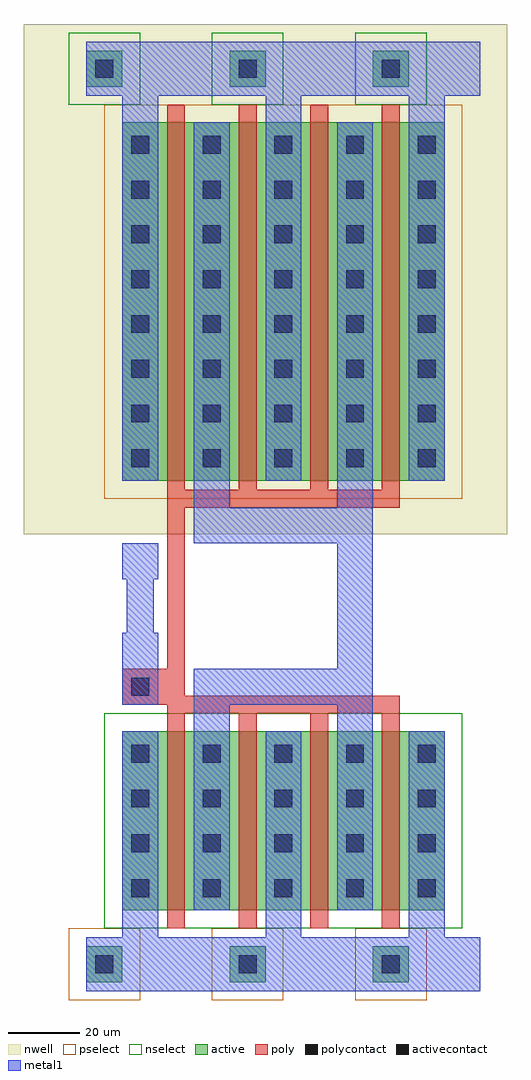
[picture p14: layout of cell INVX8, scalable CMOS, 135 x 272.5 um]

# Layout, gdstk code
import gdstk
lib = gdstk.Library(unit=1e-6, precision=1e-09)
def R(c, l, rs):  # rectangles x0, y0, x1, y1
    for r in rs: c.add(gdstk.rectangle(r[:2], r[2:], *l))
def A(c, l, x, y, w, h, nx, ny, dx, dy):  # array of equal rectangles
    R(c, l, [(x+i*dx, y+j*dy, x+i*dx+w, y+j*dy+h) for i in range(nx) for j in range(ny)])
nwell = (42, 0)
active = (43, 0)
pselect = (44, 0)
nselect = (45, 0)
poly = (46, 0)
polycontact = (47, 0)
activecontact = (48, 0)
metal1 = (49, 0)

invx8 = lib.new_cell('INVX8')
R(invx8, nwell, [(-22.5,120,112.5,262.5)])
A(invx8, active, -5, -5, 10, 10, 3, 2, 40, 250)
R(invx8, active, [(5,15,95,65), (5,135,95,235)])
A(invx8, pselect, -10, -10, 20, 20, 3, 1, 40, 0)
R(invx8, pselect, [(0,130,100,240)])
A(invx8, nselect, -10, 240, 20, 20, 3, 1, 40, 0)
R(invx8, nselect, [(0,10,100,70)])
A(invx8, poly, 17.5, 10, 5, 60, 4, 1, 20, 0)
A(invx8, poly, 17.5, 132.5, 5, 107.5, 4, 1, 20, 0)
R(invx8, poly, [(17.5,70,82.5,72.5), (5,72.5,82.5,75), (5,75,22.5,82.5), (17.5,82.5,22.5,127.5), (17.5,127.5,82.5,132.5)])
R(invx8, polycontact, [(7.5,75,12.5,80)])
A(invx8, activecontact, -2.5, -2.5, 5, 5, 3, 2, 40, 250)
A(invx8, activecontact, 7.5, 18.75, 5, 5, 5, 4, 20, 12.5)
A(invx8, activecontact, 7.5, 138.75, 5, 5, 5, 8, 20, 12.5)
A(invx8, metal1, 5, 7.5, 10, 57.5, 3, 1, 40, 0)
A(invx8, metal1, 5, 135, 10, 107.5, 3, 1, 40, 0)
R(invx8, metal1, [(-5,-7.5,105,7.5), (25,15,35,72.5), (65,15,75,72.5), (5,72.5,15,92.5), (25,72.5,75,82.5), (65,82.5,75,117.5), (6.25,83.75,13.75,116.25), (5,107.5,15,117.5), (25,117.5,75,127.5), (25,127.5,35,235), (65,127.5,75,235), (-5,242.5,105,257.5)])

lib.write_gds('INVX8.gds')
